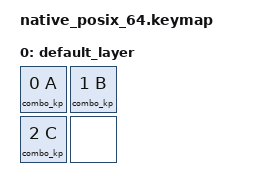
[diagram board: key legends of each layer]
#include <dt-bindings/zmk/keys.h>
#include <behaviors.dtsi>
#include <dt-bindings/zmk/kscan_mock.h>

/*
    combo 01 timeout 100
    combo 0123 timeout 100
    press 012, wait until timeout runs out
    expected: combo 01 after 100ms, immediately followed by key 2.
 */
/ {
    combos {
        compatible = "zmk,combos";
        combo_two {
            timeout-ms = <100>;
            triggers = <0 1>;
            bindings = <&kp Y>;
        };

        combo_four {
            timeout-ms = <100>;
            triggers = <0 1 2 3>;
            bindings = <&kp W>;
        };

    };

    keymap {
        compatible = "zmk,keymap";

        default_layer {
            bindings = <
                &combo_kp 0 A &combo_kp 1 B
                &combo_kp 2 C &none
            >;
        };
    };
};

&kscan {
    events = <
        /* if you're debugging these, remember that the timer can be triggered between
          events while stepping through code. */
        ZMK_MOCK_PRESS(0,0,10)
        ZMK_MOCK_PRESS(0,1,10)
        ZMK_MOCK_PRESS(0,2,100)
        ZMK_MOCK_RELEASE(0,0,10)
        ZMK_MOCK_RELEASE(0,1,10)
        ZMK_MOCK_RELEASE(0,2,100)
    >;
};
